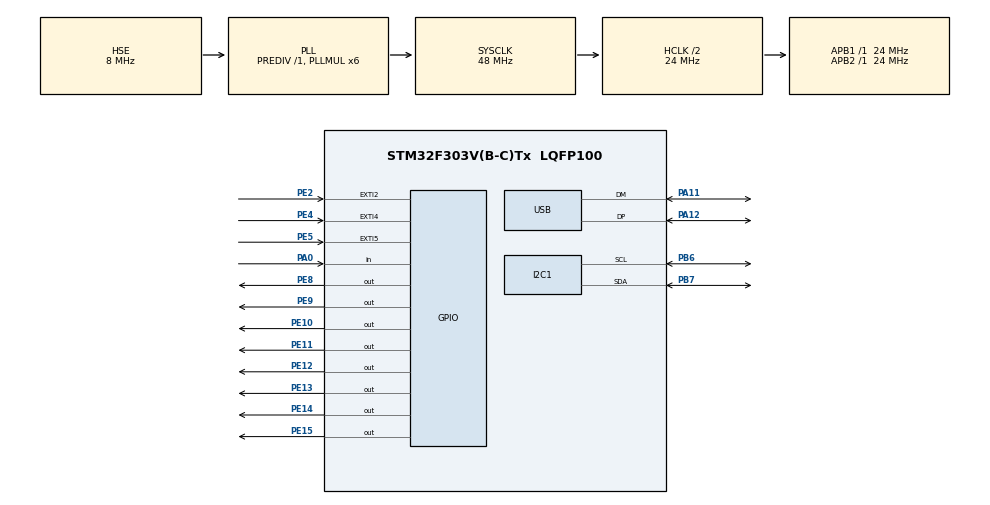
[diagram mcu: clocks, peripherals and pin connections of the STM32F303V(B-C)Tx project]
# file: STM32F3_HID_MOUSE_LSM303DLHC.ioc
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Mcu.Family=STM32F3
Mcu.Name=STM32F303V(B-C)Tx
Mcu.Package=LQFP100
NVIC.PriorityGroup=NVIC_PRIORITYGROUP_4
NVIC.TIM3_IRQn=true\:0\:0\:false\:false\:true\:true
NVIC.USB_LP_CAN_RX0_IRQn=true\:0\:0\:false\:false\:true\:true
PA0.Signal=GPIO_Input
PA11.Mode=Device
PA11.Signal=USB_DM
PA12.Mode=Device
PA12.Signal=USB_DP
PB6.Mode=I2C
PB6.Signal=I2C1_SCL
PB7.Mode=I2C
PB7.Signal=I2C1_SDA
PE10.Signal=GPIO_Output
PE11.Signal=GPIO_Output
PE12.Signal=GPIO_Output
PE13.Signal=GPIO_Output
PE14.Signal=GPIO_Output
PE15.Signal=GPIO_Output
PE2.Signal=GPXTI2
PE4.Signal=GPXTI4
PE5.Signal=GPXTI5
PE8.Signal=GPIO_Output
PE9.Signal=GPIO_Output
PF0-OSC_IN.Mode=HSE-External-Oscillator
PF0-OSC_IN.Signal=RCC_OSC_IN
PF1-OSC_OUT.Mode=HSE-External-Oscillator
PF1-OSC_OUT.Signal=RCC_OSC_OUT
ProjectManager.HeapSize=0x200
ProjectManager.StackSize=0x400
ProjectManager.TargetToolchain=TrueSTUDIO
RCC.AHBCLKDivider=RCC_SYSCLK_DIV2
RCC.AHBFreq_Value=24000000
RCC.APB1Freq_Value=24000000
RCC.APB1TimFreq_Value=24000000
RCC.APB2Freq_Value=24000000
RCC.APB2TimFreq_Value=24000000
RCC.CortexFreq_Value=24000000
RCC.HCLKFreq_Value=24000000
RCC.HSE_VALUE=8000000
RCC.HSI_VALUE=8000000
RCC.LSE_VALUE=32768
RCC.PLLMUL=RCC_PLL_MUL6
RCC.SYSCLKFreq_VALUE=48000000
RCC.SYSCLKSourceVirtual=RCC_SYSCLKSOURCE_PLLCLK
RCC.USBFreq_Value=48000000
TIM3.Period=19
TIM3.Prescaler=24000
USB_DEVICE.CLASS_NAME_FS=HID
USB_DEVICE.VirtualMode=Hid
USB_DEVICE.VirtualModeFS=Hid_FS
VP_TIM3_VS_ClockSourceINT.Mode=Internal
VP_USB_DEVICE_VS_USB_DEVICE_HID_FS.Mode=HID_FS
board=STM32F3_HID_MOUSE_LSM303DLHC

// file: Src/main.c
/**
  ******************************************************************************
  * File Name          : main.c
  * Description        : Main program body
  ******************************************************************************
  * This notice applies to any and all portions of this file
  * that are not between comment pairs USER CODE BEGIN and
  * USER CODE END. Other portions of this file, whether
  * inserted by the user or by software development tools
  * are owned by their respective copyright owners.
  *
  * Copyright (c) 2017 STMicroelectronics International N.V.
  * All rights reserved.
  *
  * Redistribution and use in source and binary forms, with or without
  * modification, are permitted, provided that the following conditions are met:
  *
  * 1. Redistribution of source code must retain the above copyright notice,
  *    this list of conditions and the following disclaimer.
  * 2. Redistributions in binary form must reproduce the above copyright notice,
  *    this list of conditions and the following disclaimer in the documentation
  *    and/or other materials provided with the distribution.
  * 3. Neither the name of STMicroelectronics nor the names of other
  *    contributors to this software may be used to endorse or promote products
  *    derived from this software without specific written permission.
  * 4. This software, including modifications and/or derivative works of this
  *    software, must execute solely and exclusively on microcontroller or
  *    microprocessor devices manufactured by or for STMicroelectronics.
  * 5. Redistribution and use of this software other than as permitted under
  *    this license is void and will automatically terminate your rights under
  *    this license.
  *
  * THIS SOFTWARE IS PROVIDED BY STMICROELECTRONICS AND CONTRIBUTORS "AS IS"
  * AND ANY EXPRESS, IMPLIED OR STATUTORY WARRANTIES, INCLUDING, BUT NOT
  * LIMITED TO, THE IMPLIED WARRANTIES OF MERCHANTABILITY, FITNESS FOR A
  * PARTICULAR PURPOSE AND NON-INFRINGEMENT OF THIRD PARTY INTELLECTUAL PROPERTY
  * RIGHTS ARE DISCLAIMED TO THE FULLEST EXTENT PERMITTED BY LAW. IN NO EVENT
  * SHALL STMICROELECTRONICS OR CONTRIBUTORS BE LIABLE FOR ANY DIRECT, INDIRECT,
  * INCIDENTAL, SPECIAL, EXEMPLARY, OR CONSEQUENTIAL DAMAGES (INCLUDING, BUT NOT
  * LIMITED TO, PROCUREMENT OF SUBSTITUTE GOODS OR SERVICES; LOSS OF USE, DATA,
  * OR PROFITS; OR BUSINESS INTERRUPTION) HOWEVER CAUSED AND ON ANY THEORY OF
  * LIABILITY, WHETHER IN CONTRACT, STRICT LIABILITY, OR TORT (INCLUDING
  * NEGLIGENCE OR OTHERWISE) ARISING IN ANY WAY OUT OF THE USE OF THIS SOFTWARE,
  * EVEN IF ADVISED OF THE POSSIBILITY OF SUCH DAMAGE.
  *
  ******************************************************************************
  */
#include "main.h"
#include "stm32f3xx_hal.h"
#include "usb_device.h"

I2C_HandleTypeDef hi2c1;

TIM_HandleTypeDef htim3;
TIM_HandleTypeDef htim4;

/* USER CODE BEGIN PV */
/* Private variables ---------------------------------------------------------*/
#define LSM_ADDRESS_ACCELEROMETER	0b00110010
int16_t x,y;//,z;// raw accelerometer data
/* USER CODE END PV */

void SystemClock_Config(void);
static void MX_GPIO_Init(void);
static void MX_I2C1_Init(void);
static void MX_TIM3_Init(void);
//static void MX_TIM4_Init(void);

/* USER CODE BEGIN PFP */
/* Private function prototypes -----------------------------------------------*/

/* USER CODE END PFP */

/* USER CODE BEGIN 0 */
void SetLed(uint8_t n, uint8_t state)
{
	uint16_t pin[8] = {GPIO_PIN_9, GPIO_PIN_10, GPIO_PIN_11, GPIO_PIN_12, GPIO_PIN_13, GPIO_PIN_14, GPIO_PIN_15, GPIO_PIN_8};

	HAL_GPIO_WritePin(GPIOE, pin[n], (state) ? GPIO_PIN_SET : GPIO_PIN_RESET);
}

void Write_LSM_Reg(uint8_t device_adr, uint8_t internal_adr, uint8_t data)
{
	uint8_t tx_buff[2];

	tx_buff[0] = internal_adr;
	tx_buff[1] = data;

	HAL_I2C_Master_Transmit(&hi2c1, device_adr, tx_buff, 2, 10000);
}

uint8_t Read_LSM_Reg(uint8_t device_adr, uint8_t internal_adr)
{
	uint8_t tx_buff[1];
	uint8_t rx_buff[1];

	tx_buff[0] = internal_adr;

	HAL_I2C_Master_Transmit(&hi2c1, device_adr, tx_buff, 1, 10000);
	HAL_I2C_Master_Receive(&hi2c1, device_adr + 1, rx_buff, 1, 10000);

	return rx_buff[0];
}

void LSM303DLHC_accelerometer_init (void)
{
	  Write_LSM_Reg(LSM_ADDRESS_ACCELEROMETER, 0x20, 0b01110111); //CTRL_REG_1_A odr 1600Hz, XEN, YEN, ZEN
	  Write_LSM_Reg(LSM_ADDRESS_ACCELEROMETER, 0x21, 0b00000000); //CTRL_REG_2_A disable filter
	  Write_LSM_Reg(LSM_ADDRESS_ACCELEROMETER, 0x23, 0b10101000); //CTRL_REG_4_A BDU, scale 8g, HI RES
}

void get_accelerometer_data(void)
{
	x = (Read_LSM_Reg(LSM_ADDRESS_ACCELEROMETER, 0x29)<<8) +Read_LSM_Reg(LSM_ADDRESS_ACCELEROMETER, 0x28);
	y = (Read_LSM_Reg(LSM_ADDRESS_ACCELEROMETER, 0x2B)<<8) +Read_LSM_Reg(LSM_ADDRESS_ACCELEROMETER, 0x2A);
	//z = (Read_LSM_Reg(LSM_ADDRESS_ACCELEROMETER, 0x2D)<<8) +Read_LSM_Reg(LSM_ADDRESS_ACCELEROMETER, 0x2C);
}
/* USER CODE END 0 */

int main(void)
{

  /* MCU Configuration----------------------------------------------------------*/

  /* Reset of all peripherals, Initializes the Flash interface and the Systick. */
  HAL_Init();

  /* Configure the system clock */
  SystemClock_Config();

  /* Initialize all configured peripherals */
  MX_GPIO_Init();
  MX_I2C1_Init();
  MX_USB_DEVICE_Init();
  MX_TIM3_Init();

  /* USER CODE BEGIN 2 */
  LSM303DLHC_accelerometer_init();

  HAL_TIM_Base_Start_IT(&htim3);
  /* USER CODE END 2 */

  /* Infinite loop */
  while (1)
  {

  }

}

/** System Clock Configuration
*/
void SystemClock_Config(void)
{

  RCC_OscInitTypeDef RCC_OscInitStruct;
  RCC_ClkInitTypeDef RCC_ClkInitStruct;
  RCC_PeriphCLKInitTypeDef PeriphClkInit;

    /**Initializes the CPU, AHB and APB busses clocks
    */
  RCC_OscInitStruct.OscillatorType = RCC_OSCILLATORTYPE_HSI|RCC_OSCILLATORTYPE_HSE;
  RCC_OscInitStruct.HSEState = RCC_HSE_ON;
  RCC_OscInitStruct.HSEPredivValue = RCC_HSE_PREDIV_DIV1;
  RCC_OscInitStruct.HSIState = RCC_HSI_ON;
  RCC_OscInitStruct.HSICalibrationValue = 16;
  RCC_OscInitStruct.PLL.PLLState = RCC_PLL_ON;
  RCC_OscInitStruct.PLL.PLLSource = RCC_PLLSOURCE_HSE;
  RCC_OscInitStruct.PLL.PLLMUL = RCC_PLL_MUL6;
  if (HAL_RCC_OscConfig(&RCC_OscInitStruct) != HAL_OK)
  {
    _Error_Handler(__FILE__, __LINE__);
  }

    /**Initializes the CPU, AHB and APB busses clocks
    */
  RCC_ClkInitStruct.ClockType = RCC_CLOCKTYPE_HCLK|RCC_CLOCKTYPE_SYSCLK
                              |RCC_CLOCKTYPE_PCLK1|RCC_CLOCKTYPE_PCLK2;
  RCC_ClkInitStruct.SYSCLKSource = RCC_SYSCLKSOURCE_PLLCLK;
  RCC_ClkInitStruct.AHBCLKDivider = RCC_SYSCLK_DIV2;
  RCC_ClkInitStruct.APB1CLKDivider = RCC_HCLK_DIV1;
  RCC_ClkInitStruct.APB2CLKDivider = RCC_HCLK_DIV1;

  if (HAL_RCC_ClockConfig(&RCC_ClkInitStruct, FLASH_LATENCY_0) != HAL_OK)
  {
    _Error_Handler(__FILE__, __LINE__);
  }

  PeriphClkInit.PeriphClockSelection = RCC_PERIPHCLK_USB|RCC_PERIPHCLK_I2C1;
  PeriphClkInit.I2c1ClockSelection = RCC_I2C1CLKSOURCE_HSI;
  PeriphClkInit.USBClockSelection = RCC_USBCLKSOURCE_PLL;
  if (HAL_RCCEx_PeriphCLKConfig(&PeriphClkInit) != HAL_OK)
  {
    _Error_Handler(__FILE__, __LINE__);
  }

    /**Configure the Systick interrupt time
    */
  HAL_SYSTICK_Config(HAL_RCC_GetHCLKFreq()/1000);

    /**Configure the Systick
    */
  HAL_SYSTICK_CLKSourceConfig(SYSTICK_CLKSOURCE_HCLK);

  /* SysTick_IRQn interrupt configuration */
  HAL_NVIC_SetPriority(SysTick_IRQn, 0, 0);
}

/* I2C1 init function */
static void MX_I2C1_Init(void)
{

  hi2c1.Instance = I2C1;
  hi2c1.Init.Timing = 0x2000090E;
  hi2c1.Init.OwnAddress1 = 0;
  hi2c1.Init.AddressingMode = I2C_ADDRESSINGMODE_7BIT;
  hi2c1.Init.DualAddressMode = I2C_DUALADDRESS_DISABLE;
  hi2c1.Init.OwnAddress2 = 0;
  hi2c1.Init.OwnAddress2Masks = I2C_OA2_NOMASK;
  hi2c1.Init.GeneralCallMode = I2C_GENERALCALL_DISABLE;
  hi2c1.Init.NoStretchMode = I2C_NOSTRETCH_DISABLE;
  if (HAL_I2C_Init(&hi2c1) != HAL_OK)
  {
    _Error_Handler(__FILE__, __LINE__);
  }

    /**Configure Analogue filter
    */
  if (HAL_I2CEx_ConfigAnalogFilter(&hi2c1, I2C_ANALOGFILTER_ENABLE) != HAL_OK)
  {
    _Error_Handler(__FILE__, __LINE__);
  }

    /**Configure Digital filter
    */
  if (HAL_I2CEx_ConfigDigitalFilter(&hi2c1, 0) != HAL_OK)
  {
    _Error_Handler(__FILE__, __LINE__);
  }

}

/* TIM3 init function */
static void MX_TIM3_Init(void)
{

  TIM_ClockConfigTypeDef sClockSourceConfig;
  TIM_MasterConfigTypeDef sMasterConfig;

  htim3.Instance = TIM3;
  htim3.Init.Prescaler = 24000;
  htim3.Init.CounterMode = TIM_COUNTERMODE_UP;
  htim3.Init.Period = 19;
  htim3.Init.ClockDivision = TIM_CLOCKDIVISION_DIV1;
  htim3.Init.AutoReloadPreload = TIM_AUTORELOAD_PRELOAD_DISABLE;
  if (HAL_TIM_Base_Init(&htim3) != HAL_OK)
  {
    _Error_Handler(__FILE__, __LINE__);
  }

  sClockSourceConfig.ClockSource = TIM_CLOCKSOURCE_INTERNAL;
  if (HAL_TIM_ConfigClockSource(&htim3, &sClockSourceConfig) != HAL_OK)
  {
    _Error_Handler(__FILE__, __LINE__);
  }

  sMasterConfig.MasterOutputTrigger = TIM_TRGO_RESET;
  sMasterConfig.MasterSlaveMode = TIM_MASTERSLAVEMODE_DISABLE;
  if (HAL_TIMEx_MasterConfigSynchronization(&htim3, &sMasterConfig) != HAL_OK)
  {
    _Error_Handler(__FILE__, __LINE__);
  }

}

/** Configure pins as
        * Analog
        * Input
        * Output
        * EVENT_OUT
        * EXTI
*/
static void MX_GPIO_Init(void)
{

  GPIO_InitTypeDef GPIO_InitStruct;

  /* GPIO Ports Clock Enable */
  __HAL_RCC_GPIOE_CLK_ENABLE();
  __HAL_RCC_GPIOF_CLK_ENABLE();
  __HAL_RCC_GPIOA_CLK_ENABLE();
  __HAL_RCC_GPIOB_CLK_ENABLE();

  /*Configure GPIO pin Output Level */
  HAL_GPIO_WritePin(GPIOE, GPIO_PIN_8|GPIO_PIN_9|GPIO_PIN_10|GPIO_PIN_11
                          |GPIO_PIN_12|GPIO_PIN_13|GPIO_PIN_14|GPIO_PIN_15, GPIO_PIN_RESET);

  /*Configure GPIO pins : PE2 PE4 PE5 */
  GPIO_InitStruct.Pin = GPIO_PIN_2|GPIO_PIN_4|GPIO_PIN_5;
  GPIO_InitStruct.Mode = GPIO_MODE_IT_RISING;
  GPIO_InitStruct.Pull = GPIO_NOPULL;
  HAL_GPIO_Init(GPIOE, &GPIO_InitStruct);

  /*Configure GPIO pin : PA0 */
  GPIO_InitStruct.Pin = GPIO_PIN_0;
  GPIO_InitStruct.Mode = GPIO_MODE_INPUT;
  GPIO_InitStruct.Pull = GPIO_NOPULL;
  HAL_GPIO_Init(GPIOA, &GPIO_InitStruct);

  /*Configure GPIO pins : PE8 PE9 PE10 PE11
                           PE12 PE13 PE14 PE15 */
  GPIO_InitStruct.Pin = GPIO_PIN_8|GPIO_PIN_9|GPIO_PIN_10|GPIO_PIN_11
                          |GPIO_PIN_12|GPIO_PIN_13|GPIO_PIN_14|GPIO_PIN_15;
  GPIO_InitStruct.Mode = GPIO_MODE_OUTPUT_PP;
  GPIO_InitStruct.Pull = GPIO_NOPULL;
  GPIO_InitStruct.Speed = GPIO_SPEED_FREQ_LOW;
  HAL_GPIO_Init(GPIOE, &GPIO_InitStruct);

}

void _Error_Handler(char * file, int line)
{
  while(1)
  {
  }
}

/************************ (C) COPYRIGHT STMicroelectronics *****END OF FILE****/
